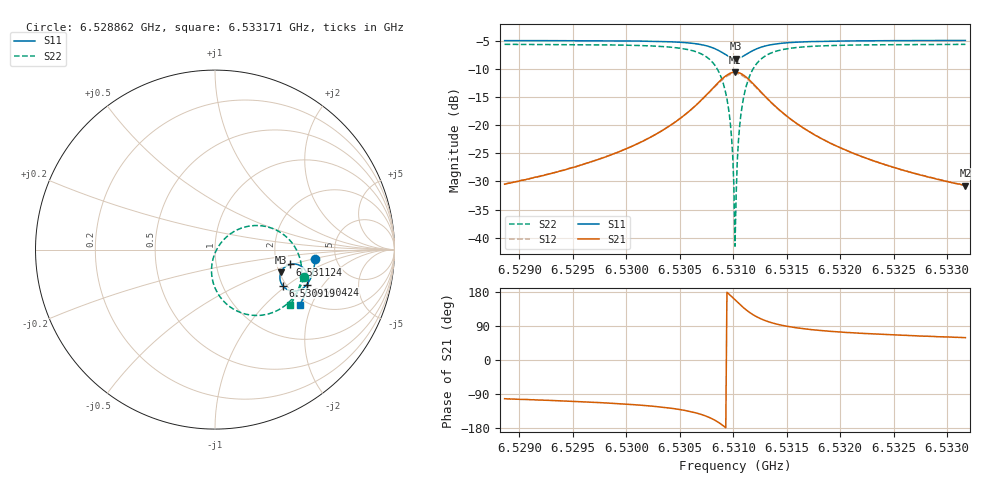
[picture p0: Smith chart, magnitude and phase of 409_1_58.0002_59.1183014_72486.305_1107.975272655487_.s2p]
#  HZ  S  RI  R  50.00
! Rohde & Schwarz Vector Network Analyzer
! Rohde-Schwarz,ZNB20-2Port,1311601062101988,3.16
! Created: UTC 3/21/2024, 1:08:39 AM
! freq[Hz]  re:S11  im:S11  re:S21  im:S21  re:S12  im:S12  re:S22  im:S22
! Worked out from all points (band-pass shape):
!   401 points, 6.528862 GHz to 6.533171 GHz, reference 50 ohm
!   highest |S21| = -10.60 dB at 6.531016 GHz (marker M1); lowest = -30.7 dB at 6.533171 GHz (marker M2)
!   |S21| within 3 dB of the highest: 6.530802 GHz to 6.531233 GHz (430.7 kHz wide, 0.00659 % of centre)
!   lowest |S11| = -8.2 dB at 6.531027 GHz (marker M3), VSWR 2.27, Z = 102 - j30.4 ohm
!   |S11| at or under -10 dB: nowhere
!   |S22| runs from -41.5 to -5.7 dB; largest |S21 - S12| = 0.011
!   S11 on the Smith chart (normalised r, x): 6.528862 GHz: 3.47, -0.52; 6.530424 GHz: 2.53, -1.41; 6.530919 GHz: 1.91, -0.94; 6.531124 GHz: 2.36, -0.48; 6.533171 GHz: 1.82, -1.65
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6.5288617e9  0.5589 -0.0511  -0.00628 -0.0292  -0.00703 -0.0293  0.497 -0.1541
6.5295835e9  0.5491 -0.1106  -0.0154 -0.0416  -0.0163 -0.0413  0.4677 -0.2202
6.5303052e9  0.5218 -0.1809  -0.0474 -0.0716  -0.0496 -0.0704  0.3899 -0.3123
6.5304237e9  0.5117 -0.1949  -0.0617 -0.0803  -0.0639 -0.0785  0.3602 -0.3323
6.5307685e9  0.442 -0.2318  -0.1686 -0.0944  -0.1706 -0.0876  0.1592 -0.3563
6.5308546e9  0.4053 -0.224  -0.2254 -0.0673  -0.2245 -0.0582  0.0634 -0.3025
6.5309193e9  0.3766 -0.2005  -0.2677 -0.0171  -0.2627 -0.00767  -0.000788 -0.2114
6.5309624e9  0.364 -0.174  -0.2837 0.0336  -0.2757 0.0414  -0.0194 -0.1244
6.5309839e9  0.3618 -0.1584  -0.2845 0.0625  -0.2754 0.0688  -0.0163 -0.0765
6.5309947e9  0.3619 -0.1503  -0.283 0.0772  -0.2733 0.0825  -0.0113 -0.0525
6.5310055e9  0.3628 -0.1422  -0.2797 0.0919  -0.2699 0.0964  -0.00391 -0.0289
6.5310162e9  0.3647 -0.1342  -0.2752 0.1062  -0.2651 0.1098  0.00587 -0.00604
6.531027e9  0.3673 -0.1264  -0.2692 0.1201  -0.259 0.1227  0.0181 0.0158
6.5310378e9  0.3709 -0.1191  -0.2618 0.1332  -0.2518 0.1349  0.0321 0.036
6.5310486e9  0.3752 -0.1122  -0.2533 0.1453  -0.2435 0.1463  0.048 0.0549
6.5310701e9  0.3856 -0.1002  -0.2334 0.1667  -0.2243 0.1661  0.0841 0.0866
6.531124e9  0.4173 -0.0825  -0.1755 0.1983  -0.1692 0.1956  0.1848 0.1299
6.5311994e9  0.4585 -0.0829  -0.1028 0.2011  -0.0995 0.1982  0.3076 0.1222
6.5313071e9  0.4943 -0.1047  -0.04 0.1716  -0.0383 0.1701  0.4105 0.0585
6.531738e9  0.5191 -0.1836  0.0146 0.083  0.0156 0.0829  0.483 -0.1281
6.5324598e9  0.4991 -0.2556  0.0171 0.0398  0.0178 0.0396  0.4554 -0.2443
6.5331708e9  0.4714 -0.3081  0.015 0.0249  0.0155 0.0246  0.4204 -0.3061
